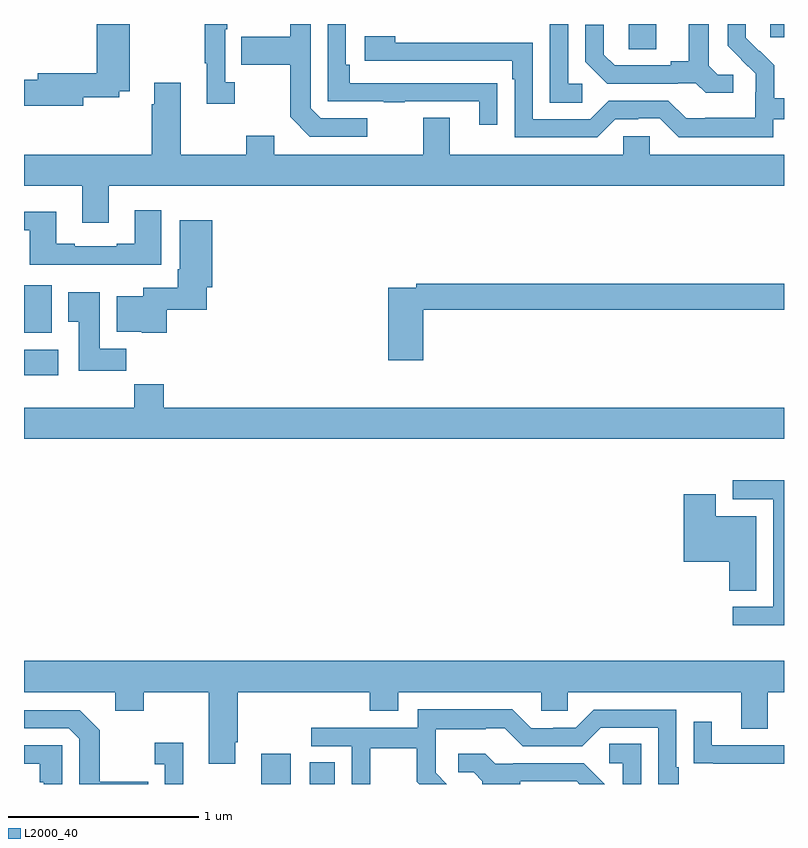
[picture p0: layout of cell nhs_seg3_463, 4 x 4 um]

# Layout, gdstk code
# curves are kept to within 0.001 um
import gdstk
lib = gdstk.Library(unit=1e-6, precision=1e-09)
def R(c, l, rs):  # rectangles x0, y0, x1, y1
    for r in rs: c.add(gdstk.rectangle(r[:2], r[2:], *l))
def P(c, l, *ps):  # polygons
    for p in ps: c.add(gdstk.Polygon(p, *l))
L2000_40 = (2000, 40)

nhs_seg3_463 = lib.new_cell('nhs_seg3_463')
R(nhs_seg3_463, L2000_40, [(134.249,732.4,134.404,732.559), (134.504,732.4,134.635,732.515), (133,734.552,133.18,734.686), (133,734.774,133.147,735.024), (136.182,736.267,136.327,736.4), (136.928,736.329,137,736.4)])
P(nhs_seg3_463, L2000_40, [(134.11,736.094),(134.058,736.094),(134.058,736.373),(134.071,736.373),(134.071,736.4),(133.95,736.4),(133.95,736.193),(133.961,736.193),(133.961,735.981),(134.11,735.981)],
  [(136.732,736.134),(136.65,736.134),(136.603,736.181),(136.603,736.4),(136.499,736.4),(136.499,736.205),(136.403,736.205),(136.403,736.182),(136.108,736.182),(136.051,736.239),(136.051,736.396),(135.954,736.396),(135.954,736.202),(136.07,736.086),(136.442,736.086),(136.442,736.089),(136.536,736.089),(136.588,736.037),(136.732,736.037)],
  [(135.491,736.088),(135.389,736.088),(135.389,736.089),(134.714,736.089),(134.714,736.186),(134.694,736.186),(134.694,736.4),(134.598,736.4),(134.598,735.993),(134.893,735.993),(134.893,735.988),(135.005,735.988),(135.005,735.993),(135.395,735.993),(135.395,735.87),(135.491,735.87)],
  [(135.937,736.086),(135.864,736.086),(135.864,736.4),(135.768,736.4),(135.768,735.985),(135.937,735.985)],
  [(134.806,735.903),(134.562,735.903),(134.508,735.957),(134.508,736.4),(134.4,736.4),(134.4,736.333),(134.143,736.333),(134.143,736.186),(134.4,736.186),(134.4,735.913),(134.505,735.807),(134.806,735.807)],
  [(133.312,736.014),(133.5,736.014),(133.5,736.046),(133.557,736.046),(133.557,736.4),(133.382,736.4),(133.382,736.142),(133.073,736.142),(133.073,736.106),(133,736.106),(133,735.971),(133.312,735.971)],
  [(136.944,735.9),(137,735.9),(137,736.009),(136.949,736.009),(136.949,736.183),(136.872,736.26),(136.869,736.257),(136.799,736.328),(136.799,736.4),(136.704,736.4),(136.704,736.286),(136.85,736.138),(136.85,736.041),(136.848,736.041),(136.848,735.907),(136.585,735.907),(136.585,735.903),(136.485,735.903),(136.392,735.996),(136.077,735.996),(135.981,735.9),(135.678,735.9),(135.678,736.302),(134.954,736.302),(134.954,736.336),(134.793,736.336),(134.793,736.206),(135.569,736.206),(135.569,736.109),(135.582,736.109),(135.582,735.804),(136.017,735.804),(136.113,735.9),(136.232,735.9),(136.232,735.903),(136.347,735.903),(136.447,735.803),(136.944,735.803)],
  [(133.447,735.548),(137,735.548),(137,735.712),(136.293,735.712),(136.293,735.81),(136.155,735.81),(136.155,735.712),(135.241,735.712),(135.241,735.907),(135.101,735.907),(135.101,735.712),(134.317,735.712),(134.317,735.811),(134.17,735.811),(134.17,735.712),(133.825,735.712),(133.825,736.09),(133.685,736.09),(133.685,735.977),(133.673,735.977),(133.673,735.712),(133,735.712),(133,735.548),(133.307,735.548),(133.307,735.354),(133.447,735.354)],
  [(133.723,735.421),(133.583,735.421),(133.583,735.244),(133.487,735.244),(133.487,735.231),(133.267,735.231),(133.267,735.244),(133.171,735.244),(133.171,735.412),(133,735.412),(133,735.315),(133.031,735.315),(133.031,735.134),(133.723,735.134)],
  [(133.751,734.896),(133.961,734.896),(133.961,735.014),(133.991,735.014),(133.991,735.367),(133.82,735.367),(133.82,735.109),(133.808,735.109),(133.808,735.012),(133.628,735.012),(133.628,734.968),(133.487,734.968),(133.487,734.78),(133.62,734.78),(133.62,734.774),(133.751,734.774)],
  [(135.101,734.896),(137,734.896),(137,735.032),(135.064,735.032),(135.064,735.012),(134.918,735.012),(134.918,734.631),(135.101,734.631)],
  [(133.538,734.692),(133.399,734.692),(133.399,734.989),(133.232,734.989),(133.232,734.833),(133.289,734.833),(133.289,734.574),(133.538,734.574)],
  [(137,734.38),(133.736,734.38),(133.736,734.504),(133.579,734.504),(133.579,734.38),(133,734.38),(133,734.216),(137,734.216)],
  [(137,733.998),(136.731,733.998),(136.731,733.899),(136.944,733.899),(136.944,733.332),(136.731,733.332),(136.731,733.236),(137,733.236)],
  [(136.855,733.81),(136.642,733.81),(136.642,733.924),(136.472,733.924),(136.472,733.571),(136.712,733.571),(136.712,733.417),(136.855,733.417)],
  [(134.113,732.619),(134.126,732.619),(134.126,732.884),(134.819,732.884),(134.819,732.785),(134.971,732.785),(134.971,732.884),(135.723,732.884),(135.723,732.786),(135.861,732.786),(135.861,732.884),(136.775,732.884),(136.775,732.69),(136.915,732.69),(136.915,732.884),(137,732.884),(137,733.048),(133,733.048),(133,732.884),(133.481,732.884),(133.481,732.785),(133.629,732.785),(133.629,732.884),(133.973,732.884),(133.973,732.507),(134.113,732.507)],
  [(134.823,732.588),(135.067,732.588),(135.067,732.413),(135.08,732.4),(135.224,732.4),(135.166,732.458),(135.166,732.555),(135.168,732.555),(135.168,732.689),(135.431,732.689),(135.431,732.693),(135.531,732.693),(135.624,732.6),(135.939,732.6),(136.035,732.696),(136.338,732.696),(136.338,732.4),(136.447,732.4),(136.447,732.487),(136.434,732.487),(136.434,732.792),(135.999,732.792),(135.903,732.696),(135.785,732.696),(135.785,732.693),(135.669,732.693),(135.569,732.793),(135.072,732.793),(135.072,732.696),(134.511,732.696),(134.511,732.6),(134.724,732.6),(134.724,732.4),(134.823,732.4)],
  [(133.655,732.411),(133.399,732.411),(133.399,732.683),(133.293,732.789),(133,732.789),(133,732.693),(133.236,732.693),(133.29,732.639),(133.29,732.4),(133.655,732.4)],
  [(137,732.603),(136.621,732.603),(136.621,732.727),(136.525,732.727),(136.525,732.508),(136.627,732.508),(136.627,732.507),(137,732.507)],
  [(133.838,732.616),(133.689,732.616),(133.689,732.503),(133.74,732.503),(133.74,732.4),(133.838,732.4)],
  [(136.248,732.611),(136.08,732.611),(136.08,732.51),(136.152,732.51),(136.152,732.4),(136.248,732.4)],
  [(133.2,732.603),(133,732.603),(133,732.507),(133.084,732.507),(133.084,732.41),(133.104,732.41),(133.104,732.4),(133.2,732.4)],
  [(135.613,732.414),(135.908,732.414),(135.922,732.4),(136.056,732.4),(135.946,732.51),(135.574,732.51),(135.574,732.507),(135.48,732.507),(135.428,732.559),(135.285,732.559),(135.285,732.462),(135.366,732.462),(135.413,732.415),(135.413,732.4),(135.613,732.4)])

lib.write_gds('nhs_seg3_463.gds')
